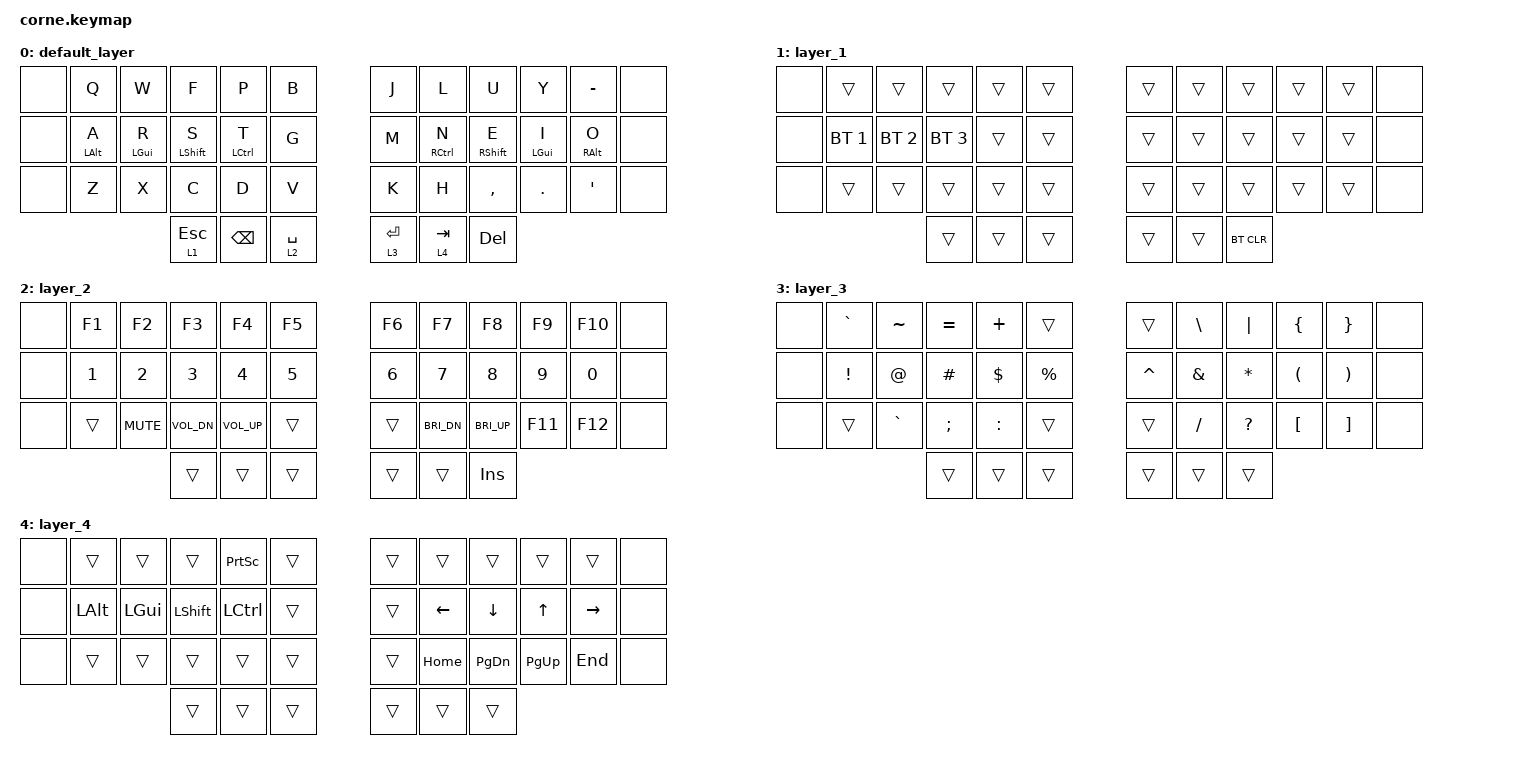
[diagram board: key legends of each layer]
#include <behaviors.dtsi>
#include <dt-bindings/zmk/keys.h>
#include <dt-bindings/zmk/bt.h>

/ {
    behaviors {
        hm: homerow_mods {
            compatible = "zmk,behavior-hold-tap";
            label = "HOMEROW_MODS";
            #binding-cells = <2>;
            tapping-term-ms = <250>;
            quick_tap_ms = <0>;
            flavor = "tap-preferred";
            bindings = <&kp>, <&kp>;
        };
    };

        keymap {
                compatible = "zmk,keymap";

                default_layer {
                        bindings = <
//,------------------------------------------------------------------.                    ,-----------------------------------------------------------------------.
   &none    &kp Q      &kp W      &kp F         &kp P       &kp B                          &kp J    &kp L       &kp U           &kp Y         &kp MINUS   &none
//|--------+----------+----------+-------------+-----------+---------|                    |--------+-----------+---------------+-------------+-----------+--------|
   &none    &hm LALT A &hm LGUI R &hm LSHIFT S  &hm LCTRL T &kp G                          &kp M    &hm RCTRL N &hm RSHIFT E    &hm LGUI I    &hm RALT O  &none
//|--------+----------+----------+-------------+-----------+---------|                    |--------+-----------+---------------+-------------+-----------+--------|
   &none    &kp Z      &kp X      &kp C         &kp D       &kp V                          &kp K    &kp H       &kp COMMA       &kp DOT       &kp SQT     &none
//|--------+----------+-----------+------------+-----------+---------+-----------|  |--------------+-----------+---------------+-------------+-----------+--------|
                                                &lt 1 ESC   &kp BSPC  &lt 2 SPACE      &lt 3 RET    &lt 4 TAB   &kp DEL
                                            //`----------------------------------'  `------------------------------------------'
                        >;
                };
                
                layer_1 {
                        bindings = <
//,-------------------------------------------------------------------------.                    ,---------------------------------------------------------.
   &none    &trans       &trans       &trans       &trans       &trans                            &trans   &trans     &trans   &trans   &trans     &none
//|--------+------------+------------+------------+------------+------------|                    |--------+----------+--------+--------+----------+--------|
   &none    &bt BT_SEL 1 &bt BT_SEL 2 &bt BT_SEL 3 &trans       &trans                            &trans   &trans     &trans   &trans   &trans     &none
//|--------+------------+------------+------------+------------+------------|                    |--------+----------+--------+--------+----------+--------|
   &none    &trans       &trans       &trans       &trans       &trans                            &trans   &trans     &trans   &trans   &trans     &none
//|--------+------------+------------+------------+------------+------------+--------|  |--------+--------+----------+--------+--------+----------+--------|
                                                   &trans       &trans       &trans      &trans   &trans   &bt BT_CLR
                                                //`----------------------------------'  `----------------------------'
                        >;
                };

                layer_2 {
                        bindings = <
//,---------------------------------------------------------------.                    ,-------------------------------------------------------------.
   &none    &kp F1   &kp F2     &kp F3       &kp F4       &kp F5                        &kp F6   &kp F7       &kp F8       &kp F9   &kp F10  &none
//|--------+--------+----------+------------+------------+--------|                    |--------+------------+------------+--------+--------+--------|
   &none    &kp N1   &kp N2     &kp N3       &kp N4       &kp N5                        &kp N6   &kp N7       &kp N8       &kp N9   &kp N0   &none
//|--------+--------+----------+------------+------------+--------|                    |--------+------------+------------+--------+--------+--------|
   &none    &trans   &kp K_MUTE &kp C_VOL_DN &kp C_VOL_UP &trans                        &trans   &kp C_BRI_DN &kp C_BRI_UP &kp F11  &kp F12  &none
//|--------+--------+----------+------------+------------+--------+--------|  |--------+--------+------------+------------+--------+--------+--------|
                                             &trans       &trans   &trans      &trans   &trans   &kp INS
                                         //`-------------------------------'  `------------------------------'
                        >;
                };

                layer_3 {
                        bindings = <
//,---------------------------------------------------------.                    ,----------------------------------------------------------.
   &none    &kp GRAVE &kp TILDE &kp EQUAL &kp PLUS &trans                          &trans   &kp BSLH  &kp PIPE  &kp LBRC  &kp RBRC  &none
//|--------+---------+---------+---------+--------+---------|                    |---------+---------+---------+---------+---------+--------|
   &none    &kp EXCL  &kp AT    &kp HASH  &kp DLLR &kp PRCNT                      &kp CARET &kp AMPS  &kp STAR  &kp LPAR  &kp RPAR  &none
//|--------+---------+---------+---------+--------+---------|                    |---------+---------+---------+---------+---------+--------|
   &none    &trans    &kp GRAVE &kp SEMI &kp COLON &trans                         &trans    &kp FSLH  &kp QMARK &kp LBKT  &kp RBKT  &none
//|--------+---------+---------+---------+--------+---------+--------|  |--------+---------+---------+---------+---------+---------+--------|
                                          &trans   &trans    &trans      &trans   &trans    &trans
                                       //`---------------------------'  `----------------------------'
                        >;
                };

                layer_4 {
                        bindings = <
//,--------------------------------------------------------.                    ,----------------------------------------------------------.
   &none    &trans   &trans   &trans     &kp PSCRN &trans                        &trans   &trans   &trans     &trans     &trans    &none
//|--------+--------+--------+----------+---------+--------|                    |--------+--------+----------+----------+---------+--------|
   &none    &kp LALT &kp LGUI &kp LSHIFT &kp LCTRL &trans                        &trans   &kp LEFT &kp DOWN   &kp UP     &kp RIGHT &none
//|--------+--------+--------+----------+---------+--------|                    |--------+--------+----------+----------+---------+--------|
   &none    &trans   &trans   &trans     &trans    &trans                        &trans   &kp HOME &kp PG_DN  &kp PG_UP  &kp END   &none
//|--------+--------+--------+----------+---------+--------+--------|  |--------+--------+--------+----------+----------+---------+--------|
                                         &trans    &trans   &trans      &trans   &trans   &trans
                                      //`---------------------------'  `--------------------------'
                        >;
                };
        };
};
